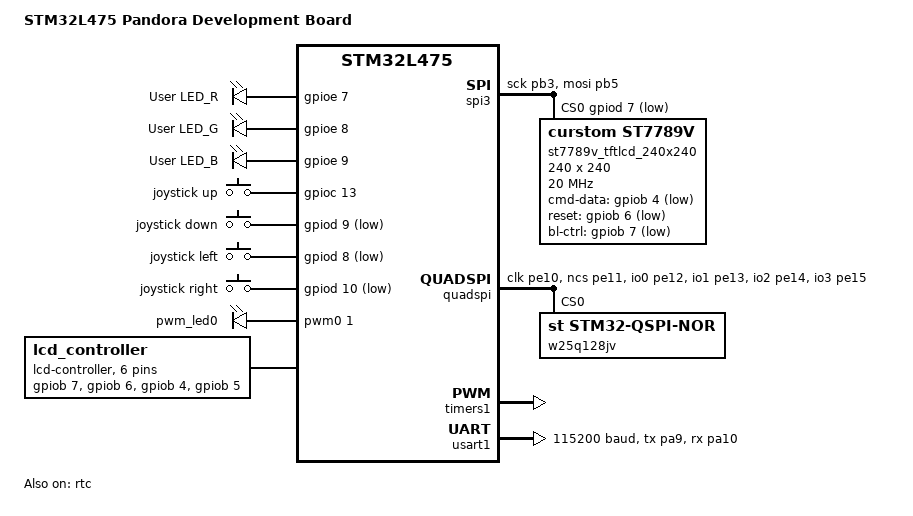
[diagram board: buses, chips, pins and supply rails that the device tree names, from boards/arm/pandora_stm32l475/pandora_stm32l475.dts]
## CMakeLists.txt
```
# SPDX-License-Identifier: Apache-2.0

cmake_minimum_required(VERSION 3.20.0)

set(BOARD_ROOT ${CMAKE_CURRENT_LIST_DIR})
message(INFO " ${BOARD} compile as Master in this sample")

find_package(Zephyr REQUIRED HINTS $ENV{ZEPHYR_BASE})
project(lvgl)

add_subdirectory(drivers/display)
add_subdirectory(src/ui)

FILE(GLOB app_sources src/*.c)
target_sources(app PRIVATE ${app_sources})
```

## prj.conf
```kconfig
CONFIG_LV_Z_MEM_POOL_NUMBER_BLOCKS=8
CONFIG_MAIN_STACK_SIZE=2048

CONFIG_DISPLAY=y
CONFIG_DISPLAY_LOG_LEVEL_ERR=y

CONFIG_LOG=y

CONFIG_LVGL=y
CONFIG_LV_MEM_CUSTOM=y
CONFIG_LV_USE_LOG=y
CONFIG_LV_USE_LABEL=y
CONFIG_LV_USE_BTN=y
CONFIG_LV_USE_IMG=y

CONFIG_LV_FONT_MONTSERRAT_20=y
CONFIG_LV_FONT_MONTSERRAT_14=y
# CONFIG_LV_COLOR_16_SWAP=y

CONFIG_GPIO=y
```

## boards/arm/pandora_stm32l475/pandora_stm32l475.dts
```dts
/*
 * Copyright (c) 2017 TsMax
 *
 * Based on stm32l475_pandora:
 *
 * Copyright (c) 2017 Tisilicon Limited
 *
 * SPDX-License-Identifier: Apache-2.0
 */

/dts-v1/;
#include <st/l4/stm32l475Xe.dtsi>
#include <st/l4/stm32l475v(c-e-g)tx-pinctrl.dtsi>

/ {
	model = "STM32L475 Pandora Development Board";
	compatible = "st,pandora_stm32l475";

	aliases {
		led0 = &red_led;
		pwm-led0 = &pwm_led0;
		sw0 = &joy_up;
	};

	chosen {
		zephyr,console = &usart1;
		zephyr,shell-uart = &usart1;
		zephyr,sram = &sram0;
		zephyr,flash = &flash0;
		zephyr,display = &st7789v_tftlcd_240x240;
	};

	leds {
		compatible = "gpio-leds";
		red_led: led_0 {
			gpios = <&gpioe 7 GPIO_ACTIVE_HIGH>;
			label = "User LED_R";
		};
		green_led: led_1 {
			gpios = <&gpioe 8 GPIO_ACTIVE_HIGH>;
			label = "User LED_G";
		};
		blue_led: led_2 {
			gpios = <&gpioe 9 GPIO_ACTIVE_HIGH>;
			label = "User LED_B";
		};
	};

	gpio_keys {
		compatible = "gpio-keys";
		joy_up: joystick_up {
			label = "joystick up";
			gpios = <&gpioc 13 (GPIO_ACTIVE_HIGH | GPIO_PULL_DOWN)>;
		};
		joy_down: joystick_down {
			label = "joystick down";
			gpios = <&gpiod 9 (GPIO_ACTIVE_LOW | GPIO_PULL_UP)>;
		};
		joy_left: joystick_left {
			label = "joystick left";
			gpios = <&gpiod 8 (GPIO_ACTIVE_LOW | GPIO_PULL_UP)>;
		};
		joy_right: joystick_right {
			label = "joystick right";
			gpios = <&gpiod 10 (GPIO_ACTIVE_LOW | GPIO_PULL_UP)>;
		};
	};

	pwmleds {
		compatible = "pwm-leds";
		status = "okay";
		pwm_led0: pwm_led0 {
			pwms = <&pwm0 1 PWM_MSEC(20) PWM_POLARITY_NORMAL>;
		};
	};


	lcd_controller: connector {
		compatible = "lcd-controller";
		#gpio-cells = <2>;
		gpio-map-mask = <0xffffffff 0xffffffc0>;
		gpio-map-pass-thru = <0 0x3f>;
		gpio-map =
			<0 0 &gpiob 7 0>,    /* PB7 LCD_PWR 		*/
			<1 0 &gpiob 6 0>,    /* PB6 LCD_RESET 	*/
			<2 0 &gpiob 4 0>,    /* PB5 LCD_WR		*/
			<3 0 &gpiob 5 0>,    /* PB4 LCD_SPI_SDA	*/
			<4 0 &gpiob 3 0>,    /* PB3 LCD_SPI_CSK	*/
			<5 0 &gpiod 7 0>;    /* PD7 LCD_CS		*/
	};
};

&spi3 {
	status = "okay";
	pinctrl-names = "default";
	pinctrl-0 = <&spi3_sck_pb3 &spi3_mosi_pb5>;
	cs-gpios = <&gpiod 7 GPIO_ACTIVE_LOW>;

	st7789v_tftlcd_240x240: st7789v@0 {
		compatible = "curstom,st7789v";
		spi-max-frequency = <20000000>;
		reg = <0>;
		cmd-data-gpios = <&gpiob 4 GPIO_ACTIVE_LOW>;
		reset-gpios = <&gpiob 6 GPIO_ACTIVE_LOW>;
		bl-ctrl-gpios = <&gpiob 7 (GPIO_ACTIVE_LOW | GPIO_PULL_DOWN)>;
		width = <240>;
		height = <240>;
		x-offset = <0>;
		y-offset = <0>;
		vcom = <0x19>;
		gctrl = <0x35>;
		vrhs = <0x12>;
		vdvs = <0x20>;
		mdac = <0x00>;
		gamma = <0x01>;
		colmod = <0x05>;
		lcm = <0x2c>;
		porch-param = [0c 0c 00 33 33];
		cmd2en-param = [5a 69 02 01];
		pwctrl1-param = [a4 a1];
		pvgam-param = [D0 04 0D 11 13 2B 3F 54 4C 18 0D 0B 1F 23];
		nvgam-param = [D0 04 0C 11 13 2C 3F 44 51 2F 1F 1F 20 23];
		ram-param = [00 F0];
		rgb-param = [CD 08 14];
	};
};

&quadspi {
	pinctrl-0 = <&quadspi_clk_pe10 &quadspi_ncs_pe11
			&quadspi_bk1_io0_pe12 &quadspi_bk1_io1_pe13
			&quadspi_bk1_io2_pe14 &quadspi_bk1_io3_pe15>;
	pinctrl-names = "default";

	status = "okay";
	w25q128jv: qspi-nor-flash@0 {
			compatible = "st,stm32-qspi-nor";
			reg = <0>;
			qspi-max-frequency = <80000000>;
			size = <0x8000000>;
			jedec-id = [ef 40 18];
			spi-bus-width = <4>;
			status = "okay";
	};
};

&timers1 {
	st,prescaler = <10000>;
	status = "okay";

	pwm0: pwm {
		status = "okay";
		pinctrl-0 = <&tim1_ch1_pe9>;
		pinctrl-names = "default";
	};
};

&clk_lsi {
	status = "okay";
};

&clk_hsi {
	status = "okay";
};

&pll {
	div-m = <1>;
	mul-n = <20>;
	div-p = <7>;
	div-q = <2>;
	div-r = <4>;
	clocks = <&clk_hsi>;
	status = "okay";
};

&rcc {
	clocks = <&pll>;
	clock-frequency = <DT_FREQ_M(80)>;
	ahb-prescaler = <1>;
	apb1-prescaler = <1>;
	apb2-prescaler = <1>;
};

&usart1 {
	pinctrl-0 = <&usart1_tx_pa9 &usart1_rx_pa10>;
	pinctrl-names = "default";
	current-speed = <115200>;
	status = "okay";
};

&rtc {
	clocks = <&rcc STM32_CLOCK_BUS_APB1 0x10000000>,
		 <&rcc STM32_SRC_LSI RTC_SEL(2)>;
	status = "okay";

	backup_regs {
		status = "okay";
	};
};
```

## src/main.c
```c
/*
 * Copyright (c) 2018 Jan Van Winkel <jan.van_winkel@dxplore.eu>
 *
 * SPDX-License-Identifier: Apache-2.0
 */

#include <zephyr/device.h>
#include <zephyr/devicetree.h>
#include <zephyr/drivers/display.h>
#include <zephyr/drivers/gpio.h>
#include <lvgl.h>
#include <stdio.h>
#include <string.h>
#include <zephyr/kernel.h>

#include <ui.h>

#define LOG_LEVEL CONFIG_LOG_DEFAULT_LEVEL
#include <zephyr/logging/log.h>
LOG_MODULE_REGISTER(app);

static uint32_t count;

#ifdef CONFIG_GPIO
static struct gpio_dt_spec button_gpio = GPIO_DT_SPEC_GET_OR(
		DT_ALIAS(sw0), gpios, {0});
static struct gpio_callback button_callback;

static void button_isr_callback(const struct device *port,
				struct gpio_callback *cb,
				uint32_t pins)
{
	ARG_UNUSED(port);
	ARG_UNUSED(cb);
	ARG_UNUSED(pins);
	LOG_INF("Button pressed");
	count = 0;
}
#endif

int main(void)
{
	char count_str[11] = {0};
	const struct device *display_dev;
	lv_obj_t *hello_world_label;
	lv_obj_t *count_label;

	display_dev = DEVICE_DT_GET(DT_CHOSEN(zephyr_display));
	if (!device_is_ready(display_dev)) {
		LOG_ERR("Device not ready, aborting test");
		return 0;
	}

#ifdef CONFIG_GPIO
	if (device_is_ready(button_gpio.port)) {
		int err;

		err = gpio_pin_configure_dt(&button_gpio, GPIO_INPUT);
		if (err) {
			LOG_ERR("failed to configure button gpio: %d", err);
			return 0;
		}

		gpio_init_callback(&button_callback, button_isr_callback,
				   BIT(button_gpio.pin));

		err = gpio_add_callback(button_gpio.port, &button_callback);
		if (err) {
			LOG_ERR("failed to add button callback: %d", err);
			return 0;
		}

		err = gpio_pin_interrupt_configure_dt(&button_gpio,
						      GPIO_INT_EDGE_TO_ACTIVE);
		if (err) {
			LOG_ERR("failed to enable button callback: %d", err);
			return 0;
		}
	}
#endif

	if (IS_ENABLED(CONFIG_LV_Z_POINTER_KSCAN)) {
		lv_obj_t *hello_world_button;

		hello_world_button = lv_btn_create(lv_scr_act());
		lv_obj_align(hello_world_button, LV_ALIGN_CENTER, 0, 0);
		hello_world_label = lv_label_create(hello_world_button);
	} else {
		hello_world_label = lv_label_create(lv_scr_act());
	}

	lv_label_set_text(hello_world_label, "Hello world!");
	lv_obj_align(hello_world_label, LV_ALIGN_CENTER, 0, 0);

	count_label = lv_label_create(lv_scr_act());
	lv_obj_align(count_label, LV_ALIGN_BOTTOM_MID, 0, 0);

	ui_init();

	lv_task_handler();
	display_blanking_off(display_dev);

	while (1) {
		if ((count % 100) == 0U) {
			sprintf(count_str, "%d", count/100U);
			lv_label_set_text(count_label, count_str);
		}
		lv_task_handler();
		++count;
		k_sleep(K_MSEC(10));
	}
}
```
